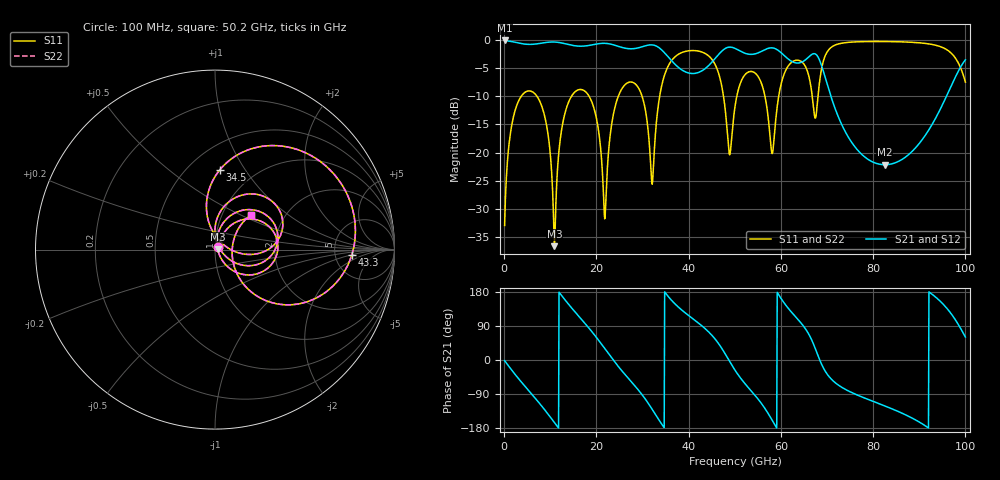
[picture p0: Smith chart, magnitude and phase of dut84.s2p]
! Touchstone file exported from HFSS 2026.1.0
!  File:  C:/ffzhzh/LocalFiles/Ansys_Project_Files/temp_train_TSV_RDL_84_1783629878_26216.aedt
!  Generated:  05:10:27 AM Jul 10, 2026
!  Design:  TSV_RDL
!  Project:  temp_train_TSV_RDL_84_1783629878_26216
! Variables:
!  h_bsmrdl = 4.78um
!  h_ox = 20um
!  h_rdl = 5um
!  h_sub = 90.52um
!  h_tmrdl = 3.68um
!  h_tsv = 90.52um
!  h_via = 3um
!  l_bsmrdl = 627.57um
!  l_sub = 4803.85um
!  l_tmrdl = 596.73um
!  m_sub = 200um
!  pitch = 41.29um
!  r_tsv = 13.28um
!  s_tmrdl = 10um
!  w_bsmrdl = 25.88um
!  w_sub = 500um
!  w_tmrdl = 18.86um
!  x_tsv_center1 = 606.16um
!  x_tsv_center2 = 1259.61um
!  x_tsv_center3 = 1875.2um
!  x_tsv_center4 = 2528.65um
!  x_tsv_center5 = 3144.24um
!  x_tsv_center6 = 3797.69um
# GHz S MA R 50.000000
! Terminal data exported
! Port[1] = TM_RDL1_1_T1
! Port[2] = TM_RDL5_1_T1
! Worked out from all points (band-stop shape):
!   1000 points, 100 MHz to 100 GHz, reference 50 ohm
!   highest |S21| = -0.16 dB at 100 MHz (marker M1); lowest = -22.2 dB at 82.5 GHz (marker M2)
!   |S21| within 3 dB of the highest: start of sweep to 35.67 GHz; 45.94 GHz to 61.17 GHz (15.23 GHz wide, 28.4 % of centre) (the widest 2 of 3)
!   lowest |S11| = -36.6 dB at 10.9 GHz (marker M3), VSWR 1.03, Z = 51.5 + j0.155 ohm
!   |S11| at or under -10 dB: 7.077 GHz to 14.63 GHz (7.556 GHz wide, 69.6 % of centre); 18.39 GHz to 24.77 GHz (6.383 GHz wide, 29.6 % of centre); 29.89 GHz to 33.72 GHz (3.837 GHz wide, 12.1 % of centre) (the widest 3 of 7)
!   |S22| runs from -36.6 to -0.3 dB; largest |S21 - S12| = 2.1e-13
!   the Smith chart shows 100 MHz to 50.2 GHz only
!   S11 on the Smith chart (normalised r, x): 100 MHz: 1.04, +0.03; 34.5 GHz: 0.70, +0.78; 43.3 GHz: 7.27, -1.05; 50.2 GHz: 1.36, +0.57
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0.1  0.02263 32.6  0.9812 -1.7  0.9812 -1.7  0.02263 32.6
! Gamma 0 0 0 0
! Port Impedance 50 0 50 0
5.5  0.351 3.4  0.9057 -83.3  0.9057 -83.3  0.351 3.4
10.9  0.01484 5.8  0.9506 -165.0  0.9506 -165.0  0.0148 5.8
16.8  0.3606 15.1  0.8731 106.8  0.8731 106.8  0.3606 15.1
21.8  0.02592 22.6  0.9259 30.3  0.9259 30.3  0.0261 22.4
23.8  0.2298 80.2  0.8949 -2.4  0.8949 -2.4  0.2297 80.2
29.6  0.3406 6.2  0.8552 -86.8  0.8552 -86.8  0.3405 6.2
32  0.05467 31.3  0.8969 -128.3  0.8969 -128.3  0.05468 31.4
33.4  0.2575 100.6  0.8565 -155.2  0.8565 -155.2  0.2576 100.6
34.5  0.4448 86.6  0.7838 -175.2  0.7838 -175.2  0.4448 86.6
43.3  0.7626 -2.3  0.5424 85.7  0.5424 85.7  0.7627 -2.3
50.1  0.2631 44.4  0.8331 -27.7  0.8331 -27.7  0.2633 44.3
50.2  0.2789 43.9  0.8294 -29.6  0.8294 -29.6  0.2791 43.9
55.3  0.4533 -12.2  0.7691 -107.0  0.7691 -107.0  0.4534 -12.2
58.7  0.1624 60.1  0.8327 -171.2  0.8327 -171.2  0.1621 60.1
62.1  0.6172 34.5  0.6496 129.1  0.6496 129.1  0.6171 34.5
66.7  0.3375 -10.8  0.7379 52.3  0.7379 52.3  0.3374 -10.8
69.9  0.7608 40.4  0.4199 -35.0  0.4199 -35.0  0.7607 40.4
82.5  0.9604 -31.4  0.07802 -121.1  0.07802 -121.1  0.9603 -31.4
83.4  0.9595 -35.3  0.07848 -125.5  0.07848 -125.5  0.9594 -35.3
93.5  0.8915 -96.8  0.1999 166.5  0.1999 166.5  0.8914 -96.9
100  0.4196 167.7  0.6618 60.6  0.6618 60.6  0.4198 167.5
